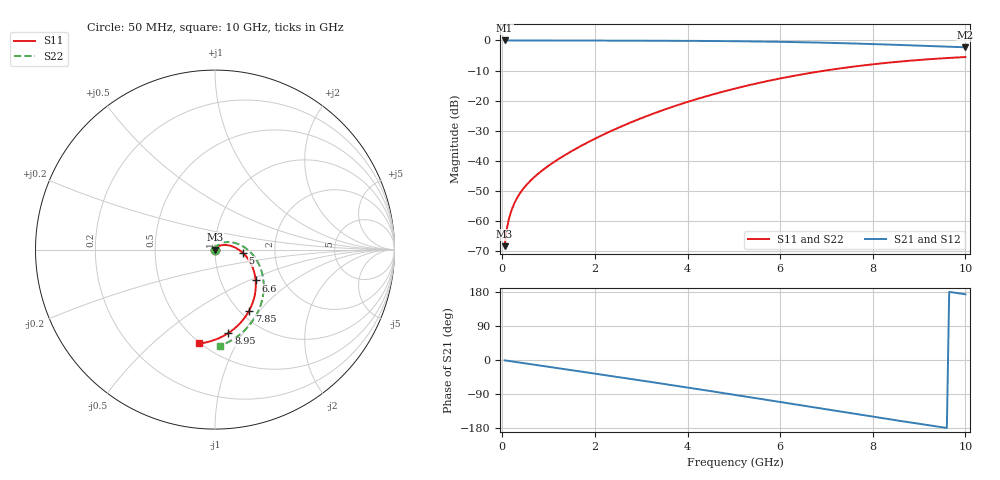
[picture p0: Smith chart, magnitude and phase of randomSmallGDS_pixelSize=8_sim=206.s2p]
! freq	dB(S11)	phase(S11)	dB(S12)	phase(S12)
!  dB(S21)	phase(S21)	dB(S22)	phase(S22)
!S-par simulation data
#  GHz  S  DB  R 50
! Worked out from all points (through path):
!   200 points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, 50 MHz to 10 GHz, reference 50 ohm
!   highest |S21| = 0.00 dB at 50 MHz (marker M1); lowest = -2.3 dB at 10 GHz (marker M2)
!   group delay of S21, straight-line fit = 52.3 ps
!   lowest |S11| = -68.3 dB at 50 MHz (marker M3), VSWR 1.00, Z = 50 + j0.0379 ohm
!   |S11| at or under -10 dB: start of sweep to 6.976 GHz
!   |S22| runs from -68.6 to -5.4 dB; largest |S21 - S12| = 0
!   S11 on the Smith chart (normalised r, x): 50 MHz: 1.00, +0.00; 5 GHz: 1.37, -0.05; 6.6 GHz: 1.46, -0.55; 7.85 GHz: 1.10, -0.88; 8.95 GHz: 0.73, -0.87; 10 GHz: 0.49, -0.72
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0.05  -68.35 82.0  -0.00 -0.9  -0.00 -0.9  -68.58 82.6
0.1  -62.38 83.7  -0.00 -1.8  -0.00 -1.8  -62.60 85.2
0.15  -58.87 83.3  -0.00 -2.7  -0.00 -2.7  -59.08 85.7
0.2  -56.38 82.5  -0.00 -3.6  -0.00 -3.6  -56.56 85.5
0.3  -52.87 80.3  -0.01 -5.4  -0.01 -5.4  -53.00 84.7
0.45  -49.32 77.1  -0.01 -8.1  -0.01 -8.1  -49.37 83.2
0.65  -45.97 73.1  -0.02 -11.7  -0.02 -11.7  -45.95 80.9
0.95  -42.17 67.4  -0.02 -17.1  -0.02 -17.1  -42.11 77.4
1.75  -34.63 52.6  -0.04 -31.4  -0.04 -31.4  -34.54 66.4
2.55  -28.71 38.0  -0.06 -45.9  -0.06 -45.9  -28.61 52.7
3.4  -23.53 22.5  -0.09 -61.5  -0.09 -61.5  -23.44 36.9
4.2  -19.48 7.9  -0.15 -76.4  -0.15 -76.4  -19.39 21.6
5  -16.08 -7.0  -0.25 -91.6  -0.25 -91.6  -16.00 6.1
5.05  -15.89 -7.9  -0.26 -92.5  -0.26 -92.5  -15.81 5.1
5.8  -13.25 -22.0  -0.40 -107.0  -0.40 -107.0  -13.17 -9.5
6.6  -10.93 -37.2  -0.63 -122.5  -0.63 -122.5  -10.85 -25.1
6.7  -10.67 -39.1  -0.66 -124.4  -0.66 -124.4  -10.59 -27.0
7.3  -9.27 -50.4  -0.88 -136.1  -0.88 -136.1  -9.18 -38.6
7.85  -8.19 -60.7  -1.13 -146.7  -1.13 -146.7  -8.10 -49.0
8.35  -7.36 -70.0  -1.37 -156.2  -1.37 -156.2  -7.27 -58.2
8.95  -6.54 -80.9  -1.69 -167.4  -1.69 -167.4  -6.44 -69.1
10  -5.51 -99.5  -2.28 173.4  -2.28 173.4  -5.40 -87.2
